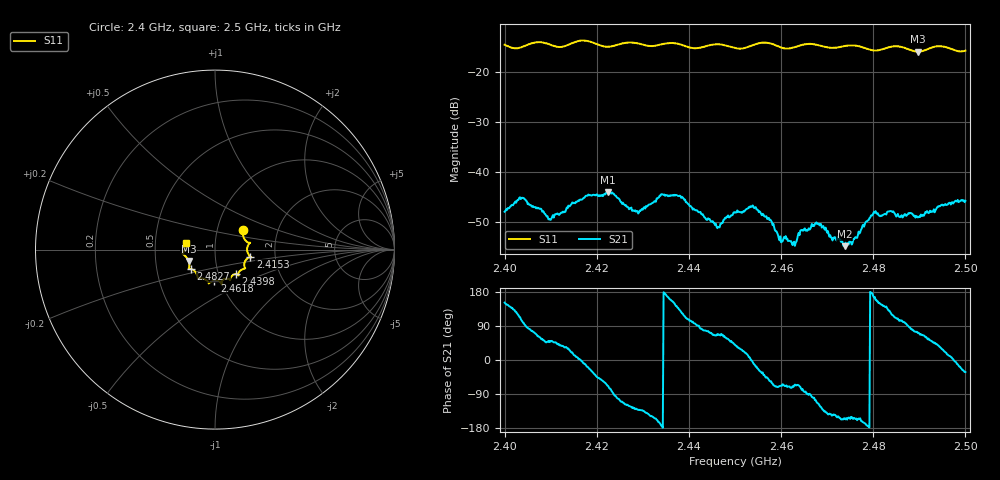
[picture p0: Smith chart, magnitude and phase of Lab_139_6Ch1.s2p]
# Hz S RI R 50
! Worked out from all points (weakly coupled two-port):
!   601 points, 2.4 GHz to 2.5 GHz, reference 50 ohm
!   highest |S21| = -43.97 dB at 2.4225 GHz (marker M1); lowest = -54.8 dB at 2.4738 GHz (marker M2)
!   lowest |S11| = -15.9 dB at 2.4897 GHz (marker M3), VSWR 1.38, Z = 36.9 - j4.79 ohm
!   |S11| at or under -10 dB: start of sweep to end of sweep
!   S12 and S22 are empty: the file has one direction only
!   S11 on the Smith chart (normalised r, x): 2.4 GHz: 1.33, +0.29; 2.4153 GHz: 1.48, -0.12; 2.4398 GHz: 1.21, -0.34; 2.4618 GHz: 0.94, -0.33; 2.4827 GHz: 0.75, -0.17; 2.5 GHz: 0.72, +0.06
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2.4e9  0.1551 0.1065  -0.00352 0.00191  0 0  0 0
2.403667e9  0.1705 0.0509  -0.0014 0.00532  0 0  0 0
2.409833e9  0.1869 0.0288  0.00212 0.00256  0 0  0 0
2.415333e9  0.1967 -0.039  0.00477 0.000975  0 0  0 0
2.416667e9  0.2026 -0.0431  0.00527 -0.000229  0 0  0 0
2.4225e9  0.1651 -0.0705  0.00225 -0.00591  0 0  0 0
2.428667e9  0.1639 -0.1055  -0.00257 -0.00315  0 0  0 0
2.433333e9  0.1297 -0.134  -0.00531 -0.00156  0 0  0 0
2.439833e9  0.1152 -0.136  -0.00144 0.00456  0 0  0 0
2.446167e9  0.0842 -0.1705  0.00101 0.00255  0 0  0 0
2.45e9  0.0651 -0.1617  0.003 0.00253  0 0  0 0
2.454167e9  0.0354 -0.1851  0.00426 -0.00086  0 0  0 0
2.457833e9  0.0378 -0.1893  0.00181 -0.00269  0 0  0 0
2.459833e9  0.0231 -0.1761  0.000837 -0.00211  0 0  0 0
2.461833e9  -0.00298 -0.1727  0.000702 -0.00192  0 0  0 0
2.466667e9  -0.0346 -0.1883  -0.00039 -0.00299  0 0  0 0
2.473833e9  -0.0878 -0.1604  -0.00163 -0.000786  0 0  0 0
2.48e9  -0.11 -0.1231  -0.00377 0.000762  0 0  0 0
2.482667e9  -0.135 -0.1087  -0.00289 0.00248  0 0  0 0
2.483333e9  -0.1402 -0.1083  -0.00262 0.00306  0 0  0 0
2.489667e9  -0.1472 -0.0633  0.00112 0.00333  0 0  0 0
2.5e9  -0.1592 0.0391  0.00435 -0.00271  0 0  0 0
